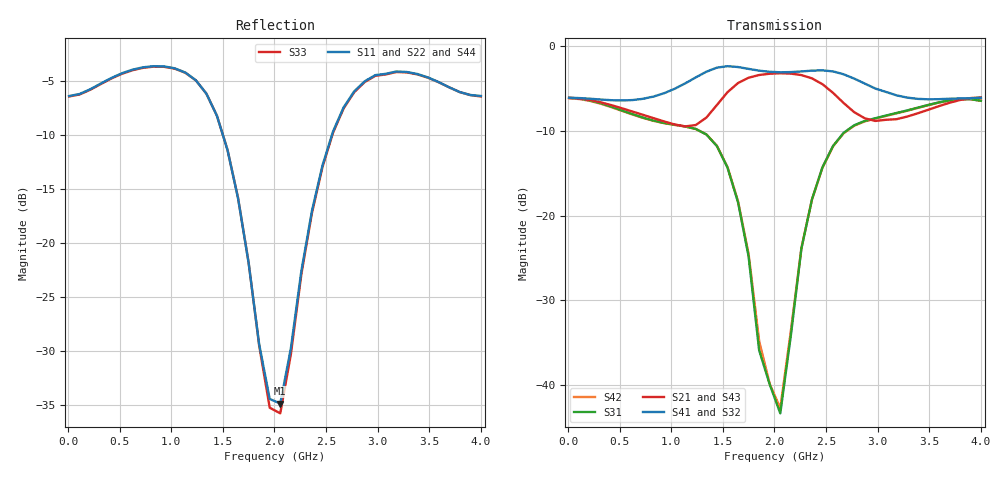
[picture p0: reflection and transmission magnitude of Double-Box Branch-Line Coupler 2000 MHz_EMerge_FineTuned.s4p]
! Generated by EMerge - 4-port S-parameters
! File generated: 2026-02-28 07:36
! --- Double-Box Branch-Line Coupler 2000 MHz ---
! Substrate: RO4003C
! h = 0.508 mm
! W50 = 1.1 mm, W35 = 1.9 mm, W121 = 0.1 mm
! Lx = 22.2 mm, Ly = 22.2 mm
! L_feed = 5 mm
! Run time = 2.35 min
# GHZ S RI R 50
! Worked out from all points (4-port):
!   40 points, 10 MHz to 4 GHz, reference 50 ohm
!   strongest paths, dB at 10 MHz, 1.033 GHz, 2.056 GHz, 3.079 GHz, 4 GHz:
!     S41: -6.1, -5.0, -3.1, -5.4, -6.1
!     S32: -6.2, -5.1, -3.1, -5.5, -6.1
!     S21: -6.1, -9.3, -3.2, -8.7, -6.1
!     S43: -6.2, -9.3, -3.3, -8.8, -6.1
!     S31: -6.1, -9.3, -43.3, -8.2, -6.5
!     S42: -6.2, -9.3, -42.7, -8.2, -6.5
!   lowest |S11| = -34.8 dB at 2.056 GHz (marker M1), VSWR 1.04, Z = 51.8 + j0.466 ohm
!   |S11| at or under -10 dB: 1.501 GHz to 2.556 GHz (1.055 GHz wide, 52 % of centre)
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0.01  -0.4813 0.000949  0.4923 -0.0116  0.4924 -0.0108  0.4924 -0.013
      0.4947 -0.0116  -0.4786 0.00099  0.4914 -0.0129  0.4914 -0.0107
      0.4948 -0.0108  0.4913 -0.0129  -0.4789 0.001  0.4915 -0.0115
      0.4948 -0.013  0.4913 -0.0107  0.4915 -0.0115  -0.4789 0.000992
0.7261538  -0.5053 0.4146  0.0204 -0.3902  0.0585 -0.3719  -0.0969 -0.476
           0.0205 -0.3921  -0.5025 0.4111  -0.096 -0.4754  0.06 -0.3718
           0.0588 -0.3737  -0.096 -0.4754  -0.502 0.4129  0.0211 -0.3899
           -0.0974 -0.4782  0.06 -0.3718  0.0211 -0.3899  -0.5025 0.4111
1.34  0.2439 0.4293  -0.2246 -0.302  -0.2836 -0.0961  -0.6846 0.1538
      -0.2257 -0.3034  0.2423 0.4289  -0.6854 0.1526  -0.2849 -0.0976
      -0.285 -0.0965  -0.6853 0.1525  0.245 0.4286  -0.2244 -0.3025
      -0.6879 0.1545  -0.2849 -0.0976  -0.2244 -0.3025  0.2424 0.4289
2.056154  0.0176 0.00449  -0.4214 0.5422  -0.000497 -0.0068  0.55 0.4273
          -0.4234 0.5448  0.0173 0.00691  0.5502 0.4277  0.00157 -0.00714
          -0.000487 -0.00682  0.5501 0.4276  0.0158 0.00422  -0.4223 0.5423
          0.5526 0.4292  0.00157 -0.00714  -0.4223 0.5423  0.0155 0.0021
2.363077  -0.00256 -0.1415  0.1435 0.6249  0.1137 -0.0492  0.6917 -0.1691
          0.1442 0.6279  0.000136 -0.1389  0.6924 -0.1693  0.1137 -0.0504
          0.1143 -0.0494  0.6923 -0.1693  -0.00322 -0.1383  0.1432 0.6256
          0.6949 -0.17  0.1136 -0.0504  0.1432 0.6257  -0.00488 -0.1395
2.772308  -0.4835 -0.1481  0.3703 0.1646  -0.1061 -0.3223  0.0108 -0.639
          0.3721 0.1654  -0.4784 -0.1489  0.0101 -0.6392  -0.1051 -0.3223
          -0.1067 -0.3238  0.0101 -0.6391  -0.4793 -0.1459  0.3709 0.1642
          0.0108 -0.6421  -0.1051 -0.3222  0.3709 0.1642  -0.4786 -0.1483
4  0.0173 0.4811  -0.116 -0.4813  0.0204 0.4726  -0.0543 0.4896
   -0.1166 -0.4836  0.0166 0.4735  -0.0538 0.4933  0.0175 0.4753
   0.0205 0.4748  -0.0538 0.4932  0.0152 0.4785  -0.112 -0.4805
   -0.0545 0.4919  0.0175 0.4753  -0.112 -0.4805  0.013 0.4796
